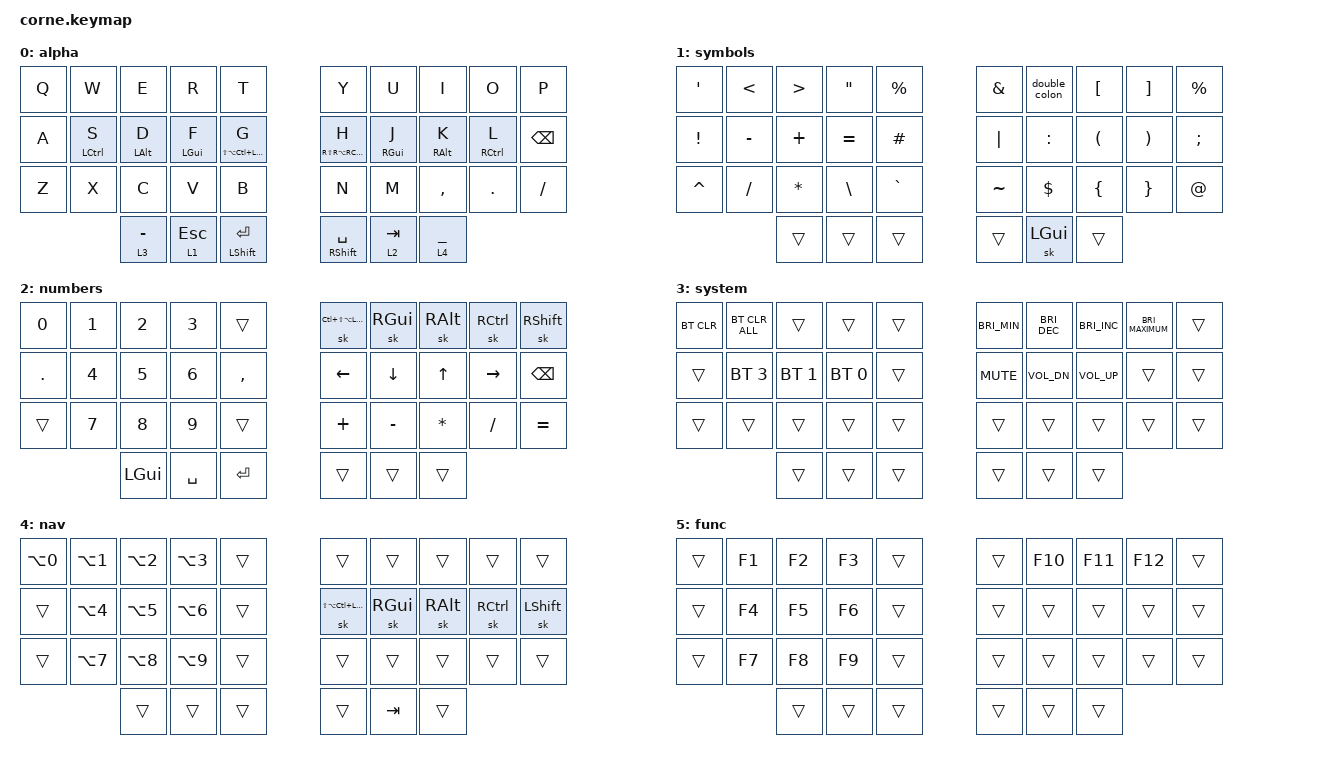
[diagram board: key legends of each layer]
/*
 * Copyright (c) 2020 The ZMK Contributors
 *
 * SPDX-License-Identifier: MIT
 */

#include <behaviors.dtsi>
#include <dt-bindings/zmk/bt.h>
#include <dt-bindings/zmk/keys.h>

/ {
    chosen { zmk,matrix_transform = &five_column_transform; };

    combos {
        compatible = "zmk,combos";

        caps {
            bindings = <&kp CAPSLOCK>;
            key-positions = <34 31>;
        };

        func {
            bindings = <&mo 5>;
            key-positions = <30 35>;
        };
    };

    macros {
        double_colon: double_colon {
            compatible = "zmk,behavior-macro";
            #binding-cells = <0>;
            bindings = <&kp COLON &kp COLON>;
            label = "DOUBLE_COLON";
        };
    };

    behaviors {
        lh_pht: lh_pht {
            compatible = "zmk,behavior-hold-tap";
            label = "LH_PHT";
            bindings = <&kp>, <&kp>;

            #binding-cells = <2>;
            tapping-term-ms = <300>;
            flavor = "balanced";
            retro-tap;
            hold-trigger-key-positions = <5 6 7 8 9 15 16 17 18 19 25 26 27 28 29 33 34 35>;
            require-prior-idle-ms = <300>;
            hold-trigger-on-release;
        };

        rh_pht: rh_pht {
            compatible = "zmk,behavior-hold-tap";
            label = "RH_PHT";
            bindings = <&kp>, <&kp>;

            #binding-cells = <2>;
            tapping-term-ms = <300>;
            flavor = "balanced";
            retro-tap;
            hold-trigger-key-positions = <0 1 2 3 4 10 11 12 13 14 20 21 22 23 24 30 31 32>;
            require-prior-idle-ms = <300>;
            hold-trigger-on-release;
        };
    };

    keymap {
        compatible = "zmk,keymap";

        alpha {
            // -----------------------------------------------------------------------------------------
            // |  Q  |  W  |  E  |  R  |  T  |     |  Y  |  U   |  I   |  O   | P |
            // |  A  |  S  |  D  |  F  |  G  |     |  H  |  J   |  K   |  L   | [+OPT] BSPC | 
            // |  Z  |  X  |  C  |  V  |  B  |     |  N  |  M   | , | . | ; |
            //             | OPT | LWR | RET |     | [+CMD] SPACE | RSE  | CTRL |

            display-name = "alpha";
            bindings = <
  &kp Q  &kp W            &kp E               &kp R               &kp T                             &kp Y                            &kp U                &kp I                &kp O            &kp P
  &kp A  &lh_pht LCTRL S  &lh_pht LEFT_ALT D  &lh_pht LEFT_GUI F  &lh_pht LS(LA(LC(LEFT_GUI))) G    &rh_pht RS(RA(RC(RIGHT_GUI))) H  &rh_pht RIGHT_GUI J  &rh_pht RIGHT_ALT K  &rh_pht RCTRL L  &kp BACKSPACE
  &kp Z  &kp X            &kp C               &kp V               &kp B                             &kp N                            &kp M                &kp COMMA            &kp PERIOD       &kp SLASH
                          &lt 3 MINUS         &lt 1 ESCAPE        &mt LSHIFT RETURN                 &mt RIGHT_SHIFT SPACE            &lt 2 TAB            &lt 4 UNDERSCORE
            >;
        };

        symbols {
            // -----------------------------------------------------------------------------------------
            // | !     |  @  |  #   |  $    |  %  |     |  ^  |  &  |  *  |  -_  |  =+  |
            // | BT0   | BT1 | BT2  | BT3   | BT4 |     | '"  |  (  |  )  |  [   |  ]   |
            // | BTCLR | OPT | CMD  | SHIFT |     |     | `~  | /?  |  \| |     |     |
            //               | CTRL |       | SPC |      | RET | ESC | TAB |

            display-name = "symbols";
            bindings = <
  &kp SINGLE_QUOTE  &kp LESS_THAN  &kp GREATER_THAN  &kp DOUBLE_QUOTES  &kp PRCNT    &kp AMPERSAND  &double_colon  &kp LEFT_BRACKET      &kp RIGHT_BRACKET      &kp PERCENT
  &kp EXCLAMATION   &kp MINUS      &kp PLUS          &kp EQUAL          &kp HASH     &kp PIPE       &kp COLON      &kp LEFT_PARENTHESIS  &kp RIGHT_PARENTHESIS  &kp SEMI
  &kp CARET         &kp SLASH      &kp ASTERISK      &kp BACKSLASH      &kp GRAVE    &kp TILDE      &kp DOLLAR     &kp LEFT_BRACE        &kp RIGHT_BRACE        &kp AT_SIGN
                                   &trans            &trans             &trans       &trans         &sk LEFT_GUI   &trans
            >;
        };

        numbers {
            // -----------------------------------------------------------------------------------------
            // | 0) |  1! |  2@ |  3# |  5% |     |     |  BRI_DN |  BRI_UP |      |      |
            // |    |  4$ |  5% |  6^ |     |     |     |  VOL_DN |  VOL_UP |      |      |
            // |    |  7& |  8* |  9( |     |     |     |  CMD    | CTRL    | META |      |
            //            | GUI | ESC | SPC |     | RET |     | TAB |

            display-name = "numbers";
            bindings = <
  &kp N0      &kp NUMBER_1  &kp NUMBER_2  &kp NUMBER_3  &trans        &sk LC(LS(LA(LGUI)))  &sk RGUI   &sk RIGHT_ALT  &sk RCTRL  &sk RIGHT_SHIFT
  &kp PERIOD  &kp NUMBER_4  &kp N5        &kp N6        &kp COMMA     &kp LEFT              &kp DOWN   &kp UP_ARROW   &kp RIGHT  &kp BACKSPACE
  &trans      &kp N7        &kp N8        &kp N9        &trans        &kp PLUS              &kp MINUS  &kp ASTERISK   &kp SLASH  &kp EQUAL
                            &kp LGUI      &kp SPACE     &kp RETURN    &trans                &trans     &trans
            >;
        };

        system {
            bindings = <
  &bt BT_CLR  &bt BT_CLR_ALL  &trans        &trans        &trans    &kp C_BRI_MIN  &kp C_BRIGHTNESS_DEC  &kp C_BRIGHTNESS_INC  &kp C_BRIGHTNESS_MAXIMUM  &trans
  &trans      &bt BT_SEL 3    &bt BT_SEL 1  &bt BT_SEL 0  &trans    &kp C_MUTE     &kp C_VOL_DN          &kp C_VOL_UP          &trans                    &trans
  &trans      &trans          &trans        &trans        &trans    &trans         &trans                &trans                &trans                    &trans
                              &trans        &trans        &trans    &trans         &trans                &trans
            >;
        };

        nav {
            bindings = <
  &kp LA(N0)  &kp LA(NUMBER_1)  &kp LA(NUMBER_2)  &kp LA(NUMBER_3)  &trans    &trans                    &trans         &trans    &trans     &trans
  &trans      &kp LA(NUMBER_4)  &kp LA(N5)        &kp LA(NUMBER_6)  &trans    &sk LS(LA(LC(LEFT_GUI)))  &sk RIGHT_GUI  &sk RALT  &sk RCTRL  &sk LEFT_SHIFT
  &trans      &kp LA(N7)        &kp LA(N8)        &kp LA(N9)        &trans    &trans                    &trans         &trans    &trans     &trans
                                &trans            &trans            &trans    &trans                    &kp TAB        &trans
            >;
        };

        func {
            bindings = <
  &trans  &kp F1  &kp F2  &kp F3  &trans    &trans  &kp F10  &kp F11  &kp F12  &trans
  &trans  &kp F4  &kp F5  &kp F6  &trans    &trans  &trans   &trans   &trans   &trans
  &trans  &kp F7  &kp F8  &kp F9  &trans    &trans  &trans   &trans   &trans   &trans
                  &trans  &trans  &trans    &trans  &trans   &trans
            >;
        };
    };
};
